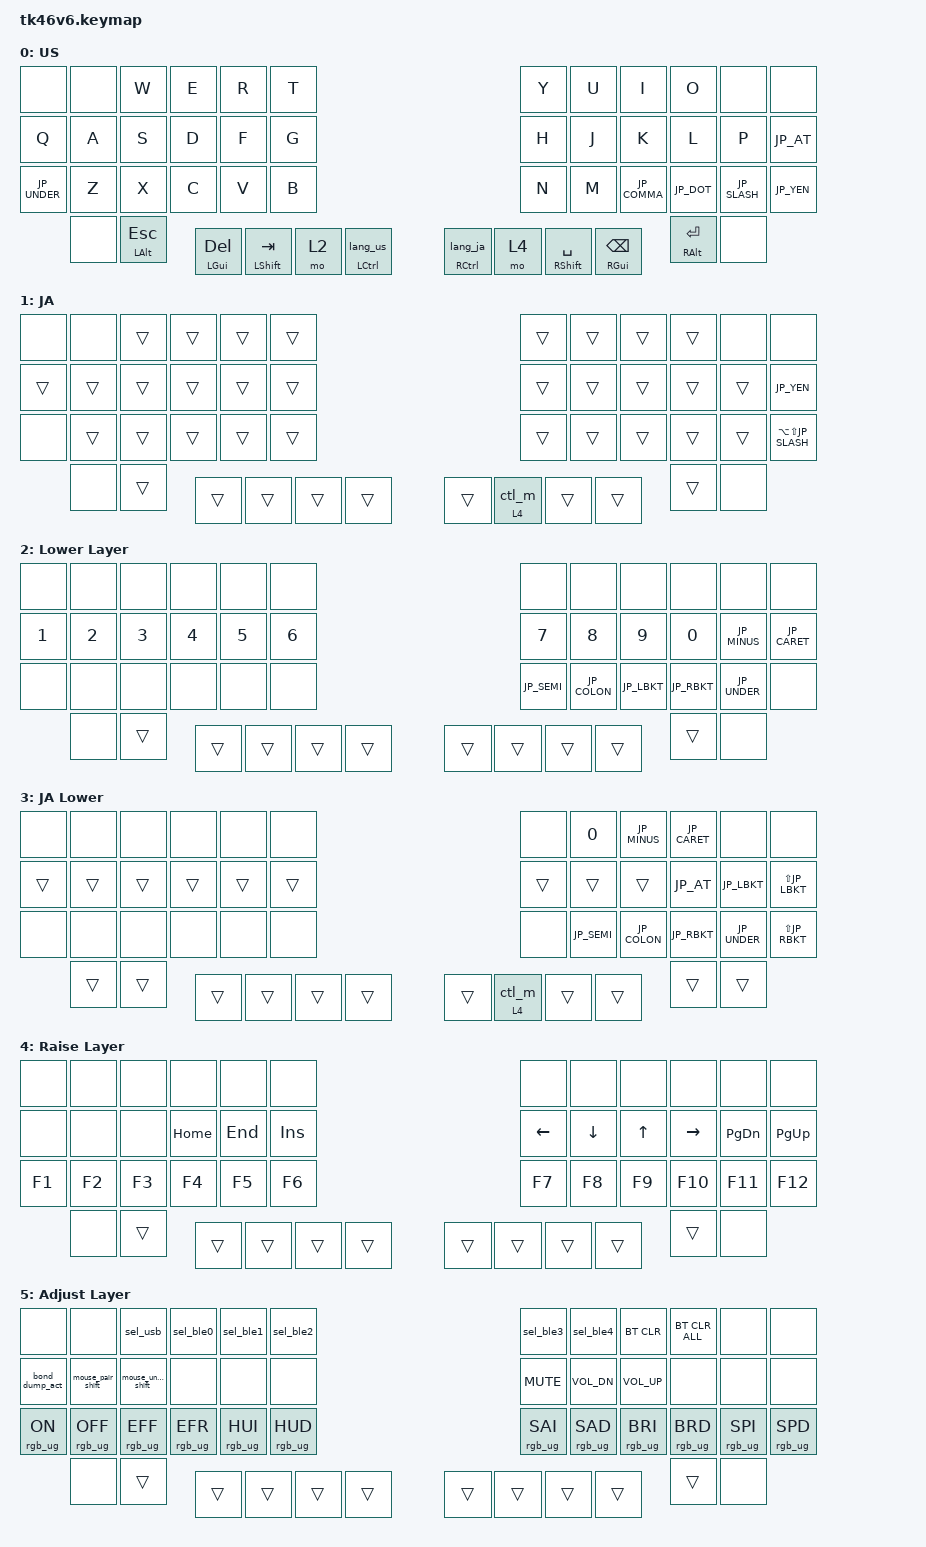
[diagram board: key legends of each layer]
#include <dt-bindings/zmk/bt.h>
#include <dt-bindings/zmk/outputs.h>
#include "../common/keycode_japanese.h"
#include "../common/behaviors.dtsi"
#include <dt-bindings/zmk/rgb.h>
#include <dt-bindings/zmk/modifiers.h>

/ {
    /* Layers: 0 US, 1 JA, 2 Lower, 3 JA_Lower, 4 Raise, 5 Adjust */
    conditional_layers {
        compatible = "zmk,conditional-layers";
        /* JA mode + Lower -> JA_Lower on top of Lower: its &trans keys fall
           through to Lower, so it only needs the keys that differ. */
        ja_lower {
            if-layers = <1 2>;
            then-layer = <3>;
        };
        tri_layer {
            if-layers = <2 4>;
            then-layer = <5>;
        };
    };

    behaviors {
        /* Guard the mouse pair/unpair keys behind Shift, so a stray press on
           the adjust layer can't drop or re-pair the mouse. Without Shift they
           are a no-op; with Shift held they run the real behavior. */
        mouse_pair_shift: mouse_pair_shift {
            compatible = "zmk,behavior-mod-morph";
            #binding-cells = <0>;
            bindings = <&none>, <&mouse_pair>;
            mods = <(MOD_LSFT|MOD_RSFT)>;
        };
        mouse_unpair_shift: mouse_unpair_shift {
            compatible = "zmk,behavior-mod-morph";
            #binding-cells = <0>;
            bindings = <&none>, <&mouse_unpair>;
            mods = <(MOD_LSFT|MOD_RSFT)>;
        };

        /* Thumb Ctrl keys: hold = Ctrl, tap = IME switch + base-layer switch.
           US: LANG2 (英数) + layer 0 / JA: LANG1 (かな) + layer 1. */
        ctl_us: ctl_us {
            compatible = "zmk,behavior-hold-tap";
            #binding-cells = <2>;
            flavor = "hold-preferred";
            tapping-term-ms = <200>;
            quick-tap-ms = <300>;
            bindings = <&kp>, <&lang_us>;
        };
        ctl_ja: ctl_ja {
            compatible = "zmk,behavior-hold-tap";
            #binding-cells = <2>;
            flavor = "hold-preferred";
            tapping-term-ms = <200>;
            quick-tap-ms = <300>;
            bindings = <&kp>, <&lang_ja>;
        };

        /* JA-mode raise key: hold = raise layer, tap = Ctrl-M.
           hold-preferred: any other key pressed while held makes it the layer. */
        raise_cm: raise_cm {
            compatible = "zmk,behavior-hold-tap";
            #binding-cells = <2>;
            flavor = "hold-preferred";
            tapping-term-ms = <200>;
            bindings = <&mo>, <&ctl_m>;
        };
    };

    macros {
        lang_us: lang_us {
            compatible = "zmk,behavior-macro";
            #binding-cells = <0>;
            bindings = <&kp LANG2>, <&to 0>;
        };
        lang_ja: lang_ja {
            compatible = "zmk,behavior-macro";
            #binding-cells = <0>;
            bindings = <&kp LANG1>, <&to 1>;
        };
        /* Ctrl-M as a real key stroke: Ctrl down, then M down/up, then Ctrl up, with
           gaps in between. A plain &kp LC(M) tapped from a hold-tap sends Ctrl+M and
           its release back to back, which the macOS Japanese IME (Kotoeri) does not
           take as a commit on the first press (azooKey does). */
        ctl_m: ctl_m {
            compatible = "zmk,behavior-macro";
            #binding-cells = <0>;
            wait-ms = <10>;
            tap-ms = <30>;
            bindings = <&macro_press &kp LCTRL>, <&macro_tap &kp M>, <&macro_release &kp LCTRL>;
        };
    };

    keymap {
        compatible = "zmk,keymap";

        default_layer {
            display-name = "US";
            //          w   e   r   t           y   u   i   o
            //  q   a   s   d   f   g           h   j   k   l   p   @
            //  _   z   x   c   v   b           n   m   ,   .   /   \
            //         ALT GUI SFT LOW CTL CTL RIS SFT GUI ALT
            //         ESC DEL TAB     EIS KAN     SPC BSP ENT

            bindings = <
                &none &none &kp W &kp E &kp R &kp T &kp Y &kp U &kp I &kp O &none &none
                &kp Q &kp A &kp S &kp D &kp F &kp G &kp H &kp J &kp K &kp L &kp P &kp JP_AT
                &kp JP_UNDER &kp Z &kp X &kp C &kp V &kp B &kp N &kp M &kp JP_COMMA &kp JP_DOT &kp JP_SLASH &kp JP_YEN
                &none
                &mt LALT ESC &mt LGUI DEL &mt LSHFT TAB &mo 2 &ctl_us LCTL 0
                &ctl_ja RCTL 0 &mo 4 &mt RSHFT SPACE &mt RGUI BSPC &mt RALT ENTER
                &none
            >;
        };

        ja_layer {
            display-name = "JA";
            //         ___ ___ ___ ___         ___ ___ ___ ___
            // ___ ___ ___ ___ ___ ___         ___ ___ ___ ___ ___ ー
            // ___ ___ ___ ___ ___ ___         ___ ___ ___ ___ ___ ？
            //         ___ ___ ___ ___ ___ ___ C-m ___ ___ ___

            bindings = <
                &none &none &trans &trans &trans &trans &trans &trans &trans &trans &none &none
                &trans &trans &trans &trans &trans &trans &trans &trans &trans &trans &trans &kp JP_YEN
                &none &trans &trans &trans &trans &trans &trans &trans &trans &trans &trans &kp LA(LS(JP_SLASH))
                &none
                &trans &trans &trans &trans &trans
                &trans &raise_cm 4 0 &trans &trans &trans
                &none
            >;
        };

        lower_layer {
            display-name = "Lower Layer";
            //         --- --- --- ---         --- --- --- ---
            //  1   2   3   4   5   6           7   8   9   0   -   ^
            // --- --- --- --- --- ---          ;   :   [   ]   _  ---
            //         ___ ___ ___ ___ ___ ___ ___ ___ ___ ___

            bindings = <
                &none &none &none &none &none &none &none &none &none &none &none &none
                &kp N1 &kp N2 &kp N3 &kp N4 &kp N5 &kp N6 &kp N7 &kp N8 &kp N9 &kp N0 &kp JP_MINUS &kp JP_CARET
                &none &none &none &none &none &none &kp JP_SEMI &kp JP_COLON &kp JP_LBKT &kp JP_RBKT &kp JP_UNDER &none
                &none
                &trans &trans &trans &trans &trans
                &trans &trans &trans &trans &trans
                &none
            >;
        };

        ja_lower_layer {
            display-name = "JA Lower";
            //         --- --- --- ---         --- WA  HO  HE
            // NU  FU   A   U   E   O          YA  YU  YO  ゛  ゜  「
            // --- --- --- --- --- ---         --- RE  KE  MU  RO   」
            //         ___ ___ ___ ___ ___ ___ C-m ___ ___ ___

            bindings = <
                &none &none &none &none &none &none &none &kp N0 &kp JP_MINUS &kp JP_CARET &none &none
                &trans &trans &trans &trans &trans &trans &trans &trans &trans &kp JP_AT &kp JP_LBKT &kp LS(JP_LBKT)
                &none &none &none &none &none &none &none &kp JP_SEMI &kp JP_COLON &kp JP_RBKT &kp JP_UNDER &kp LS(JP_RBKT)
                &trans
                &trans &trans &trans &trans &trans
                &trans &raise_cm 4 0 &trans &trans &trans
                &trans
            >;
        };

        raise_layer {
            display-name = "Raise Layer";
            // --- --- --- --- --- ---         --- --- --- --- --- ---
            // --- --- --- HOM END INS         <<< vvv ^^^ >>> Pvv P^^
            // F1  F2  F3  F4  F5  F6          F7  F8  F9  F1O F11 F12
            //         ___ ___ ___ ___ ___ ___ ___ ___ ___ ___

            bindings = <
                &none &none &none &none &none &none &none &none &none &none &none &none
                &none &none &none &kp HOME &kp END &kp INS &kp LEFT &kp DOWN &kp UP &kp RIGHT &kp PG_DN &kp PG_UP
                &kp F1 &kp F2 &kp F3 &kp F4 &kp F5 &kp F6 &kp F7 &kp F8 &kp F9 &kp F10 &kp F11 &kp F12
                &none
                &trans &trans &trans &trans &trans
                &trans &trans &trans &trans &trans
                &none
            >;
        };

        adjust_layer {
            display-name = "Adjust Layer";
            //         USB BT0 BT1 BT2         BT3 BT4 CLR CLRALL (BT_DESC 0~4 : SHIFT + BT0~4)
            // BND Mp  Mup --- --- ---         MUT Vvv v^^ --- --- ---
            // ON  OFF EFF EFR HUD HUI         SAI SAD BRI BRD SPI SPD
            //         ___ ___ ___ ___ ___ ___ ___ ___ ___ ___

            bindings = <
                &none &none &sel_usb &sel_ble0 &sel_ble1 &sel_ble2 &sel_ble3 &sel_ble4 &bt BT_CLR &bt BT_CLR_ALL &none &none
                &bond_dump_act &mouse_pair_shift &mouse_unpair_shift &none &none &none &kp C_MUTE &kp C_VOL_DN &kp C_VOL_UP &none &none &none
                &rgb_ug RGB_ON &rgb_ug RGB_OFF &rgb_ug RGB_EFF &rgb_ug RGB_EFR &rgb_ug RGB_HUI &rgb_ug RGB_HUD &rgb_ug RGB_SAI &rgb_ug RGB_SAD &rgb_ug RGB_BRI &rgb_ug RGB_BRD &rgb_ug RGB_SPI &rgb_ug RGB_SPD
                &none
                &trans &trans &trans &trans &trans
                &trans &trans &trans &trans &trans
                &none
            >;
        };

    };
};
